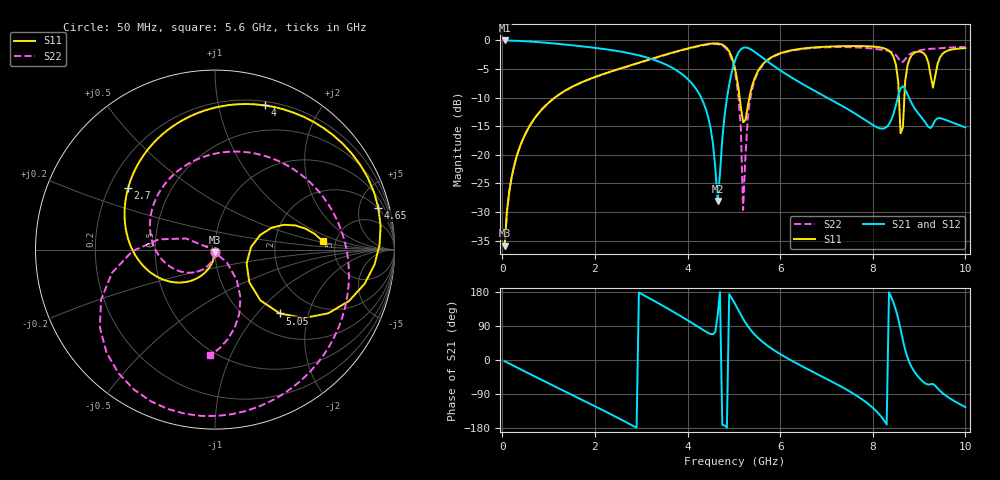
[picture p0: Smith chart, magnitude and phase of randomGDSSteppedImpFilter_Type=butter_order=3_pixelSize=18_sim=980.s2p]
! freq	dB(S11)	phase(S11)	dB(S12)	phase(S12)
!  dB(S21)	phase(S21)	dB(S22)	phase(S22)
!S-par simulation data
#  GHz  S  DB  R 50
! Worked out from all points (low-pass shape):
!   200 points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, 50 MHz to 10 GHz, reference 50 ohm
!   highest |S21| = -0.01 dB at 50 MHz (marker M1); lowest = -28.1 dB at 4.65 GHz (marker M2)
!   |S21| within 3 dB of the highest: start of sweep to 3.127 GHz; 5.048 GHz to 5.616 GHz (567.9 MHz wide, 10.7 % of centre)
!   lowest |S11| = -35.9 dB at 50 MHz (marker M3), VSWR 1.03, Z = 49.9 - j1.59 ohm
!   |S11| at or under -10 dB: start of sweep to 1.134 GHz; 5.125 GHz to 5.336 GHz (211.1 MHz wide, 4.03 % of centre); 8.565 GHz to 8.682 GHz (117.1 MHz wide, 1.36 % of centre)
!   |S22| runs from -36.0 to -0.6 dB; largest |S21 - S12| = 0
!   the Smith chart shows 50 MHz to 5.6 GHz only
!   S11 on the Smith chart (normalised r, x): 50 MHz: 1.00, -0.03; 2.7 GHz: 0.28, +0.30; 4 GHz: 0.24, +1.37; 4.65 GHz: 1.89, +7.49; 5.05 GHz: 1.39, -1.33; 5.6 GHz: 3.92, +0.60
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0.05  -35.93 -92.2  -0.01 -3.2  -0.01 -3.2  -35.99 -93.5
0.5  -16.32 -115.8  -0.14 -31.1  -0.14 -31.1  -16.34 -127.5
1.75  -7.20 -173.8  -1.06 -106.8  -1.06 -106.8  -7.22 138.9
2.7  -4.53 144.6  -2.17 -165.7  -2.17 -165.7  -4.58 62.4
3.4  -2.78 108.9  -3.76 147.7  -3.76 147.7  -2.84 4.8
4  -1.41 71.1  -6.72 104.9  -6.72 104.9  -1.48 -44.1
4.45  -0.62 35.1  -13.56 71.2  -13.56 71.2  -0.71 -84.1
4.65  -0.54 14.3  -28.10 117.6  -28.10 117.6  -0.67 -106.4
5.05  -5.89 -44.6  -2.96 142.4  -2.96 142.4  -6.72 -178.8
5.15  -11.57 -43.6  -1.57 119.6  -1.57 119.6  -15.25 159.0
5.2  -14.32 -23.5  -1.29 108.8  -1.29 108.8  -29.66 164.3
5.35  -9.42 21.1  -1.48 81.5  -1.48 81.5  -10.41 -62.0
5.6  -4.42 4.6  -2.91 50.0  -2.91 50.0  -4.59 -92.6
6.7  -1.24 -72.9  -8.62 -30.8  -8.62 -30.8  -1.33 -172.7
7.8  -1.00 -138.0  -13.74 -106.5  -13.74 -106.5  -1.29 93.7
8.35  -1.80 176.2  -14.67 178.7  -14.67 178.7  -1.88 4.2
8.55  -7.26 129.5  -9.68 109.0  -9.68 109.0  -3.10 -37.4
8.65  -15.20 -96.4  -8.02 52.5  -8.02 52.5  -3.77 -48.1
8.95  -2.00 -171.5  -12.42 -39.4  -12.42 -39.4  -1.86 -96.9
9.2  -3.89 153.7  -15.11 -64.9  -15.11 -64.9  -1.49 -132.8
9.4  -4.13 -175.8  -13.62 -74.7  -13.62 -74.7  -1.40 -155.5
10  -1.35 134.1  -15.22 -124.3  -15.22 -124.3  -1.13 152.9
